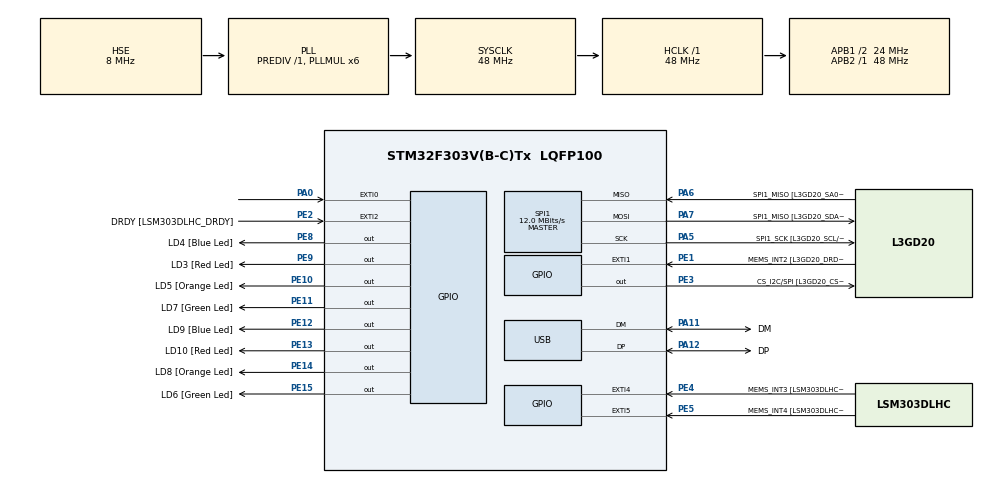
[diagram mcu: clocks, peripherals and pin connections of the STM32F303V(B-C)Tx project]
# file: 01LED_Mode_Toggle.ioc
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Mcu.Family=STM32F3
Mcu.Name=STM32F303V(B-C)Tx
Mcu.Package=LQFP100
NVIC.EXTI0_IRQn=true\:0\:0\:false\:false\:true\:true\:true\:true
NVIC.PriorityGroup=NVIC_PRIORITYGROUP_0
PA0.Signal=GPXTI0
PA10.Signal=I2C2_SDA
PA11.GPIO_Label=DM
PA11.Mode=Device
PA11.Signal=USB_DM
PA12.GPIO_Label=DP
PA12.Mode=Device
PA12.Signal=USB_DP
PA13.GPIO_Label=SWDIO
PA13.Mode=Serial_Wire
PA13.Signal=SYS_JTMS-SWDIO
PA14.GPIO_Label=SWCLK
PA14.Mode=Serial_Wire
PA14.Signal=SYS_JTCK-SWCLK
PA5.GPIO_Label=SPI1_SCK [L3GD20_SCL/SPC]
PA5.Mode=Full_Duplex_Master
PA5.Signal=SPI1_SCK
PA6.GPIO_Label=SPI1_MISO [L3GD20_SA0/SDO]
PA6.Mode=Full_Duplex_Master
PA6.Signal=SPI1_MISO
PA7.GPIO_Label=SPI1_MISO [L3GD20_SDA/SDI/SDO]
PA7.Mode=Full_Duplex_Master
PA7.Signal=SPI1_MOSI
PA9.Signal=I2C2_SCL
PB3.GPIO_Label=SWO
PB3.Signal=SYS_JTDO-TRACESWO
PC14-OSC32_IN.GPIO_Label=OSC32_IN
PC14-OSC32_IN.Signal=RCC_OSC32_IN
PC15-OSC32_OUT.GPIO_Label=OSC32_OUT
PC15-OSC32_OUT.Signal=RCC_OSC32_OUT
PE1.GPIO_Label=MEMS_INT2 [L3GD20_DRDY/INT2]
PE1.GPIO_ModeDefaultEXTI=GPIO_MODE_EVT_RISING
PE1.Signal=GPXTI1
PE10.GPIO_Label=LD5 [Orange Led]
PE10.Signal=GPIO_Output
PE11.GPIO_Label=LD7 [Green Led]
PE11.Signal=GPIO_Output
PE12.GPIO_Label=LD9 [Blue Led]
PE12.Signal=GPIO_Output
PE13.GPIO_Label=LD10 [Red Led]
PE13.Signal=GPIO_Output
PE14.GPIO_Label=LD8 [Orange Led]
PE14.Signal=GPIO_Output
PE15.GPIO_Label=LD6 [Green Led]
PE15.Signal=GPIO_Output
PE2.GPIO_Label=DRDY [LSM303DLHC_DRDY]
PE2.GPIO_ModeDefaultEXTI=GPIO_MODE_EVT_RISING
PE2.Signal=GPXTI2
PE3.GPIO_Label=CS_I2C/SPI [L3GD20_CS_I2C/SPI]
PE3.Signal=GPIO_Output
PE4.GPIO_Label=MEMS_INT3 [LSM303DLHC_INT1]
PE4.GPIO_ModeDefaultEXTI=GPIO_MODE_EVT_RISING
PE4.Signal=GPXTI4
PE5.GPIO_Label=MEMS_INT4 [LSM303DLHC_INT2]
PE5.GPIO_ModeDefaultEXTI=GPIO_MODE_EVT_RISING
PE5.Signal=GPXTI5
PE8.GPIO_Label=LD4 [Blue Led]
PE8.Signal=GPIO_Output
PE9.GPIO_Label=LD3 [Red Led]
PE9.Signal=GPIO_Output
PF0-OSC_IN.GPIO_Label=OSC_IN
PF0-OSC_IN.Mode=HSE-External-Clock-Source
PF0-OSC_IN.Signal=RCC_OSC_IN
PF1-OSC_OUT.GPIO_Label=OSC_OUT
PF1-OSC_OUT.Signal=RCC_OSC_OUT
ProjectManager.HeapSize=0x200
ProjectManager.StackSize=0x400
ProjectManager.TargetToolchain=STM32CubeIDE
RCC.AHBFreq_Value=48000000
RCC.APB1CLKDivider=RCC_HCLK_DIV2
RCC.APB1Freq_Value=24000000
RCC.APB1TimFreq_Value=48000000
RCC.APB2Freq_Value=48000000
RCC.APB2TimFreq_Value=48000000
RCC.CortexFreq_Value=48000000
RCC.HCLKFreq_Value=48000000
RCC.HSE_VALUE=8000000
RCC.HSI_VALUE=8000000
RCC.LSE_VALUE=32768
RCC.PLLMUL=RCC_PLL_MUL6
RCC.SYSCLKFreq_VALUE=48000000
RCC.SYSCLKSourceVirtual=RCC_SYSCLKSOURCE_PLLCLK
RCC.USBFreq_Value=48000000
SPI1.BaudRatePrescaler=SPI_BAUDRATEPRESCALER_4
SPI1.BaudRatePrescaler-Full_Duplex_Master=SPI_BAUDRATEPRESCALER_2
SPI1.CalculateBaudRate=12.0 MBits/s
SPI1.CalculateBaudRate-Full_Duplex_Master=24.0 MBits/s
SPI1.Direction=SPI_DIRECTION_2LINES
SPI1.Mode=SPI_MODE_MASTER
SPI1.Mode-Full_Duplex_Master=SPI_MODE_MASTER
SPI1.VirtualType=VM_MASTER
board=STM32F3DISCOVERY

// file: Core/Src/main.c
/* USER CODE BEGIN Header */
/**
  ******************************************************************************
  * @file           : main.c
  * @brief          : Main program body
  ******************************************************************************
  * @attention
  *
  * Copyright (c) 2025 STMicroelectronics.
  * All rights reserved.
  *
  * This software is licensed under terms that can be found in the LICENSE file
  * in the root directory of this software component.
  * If no LICENSE file comes with this software, it is provided AS-IS.
  *
  ******************************************************************************
  */
/* USER CODE END Header */
#include "main.h"

SPI_HandleTypeDef hspi1;

PCD_HandleTypeDef hpcd_USB_FS;

void SystemClock_Config(void);
static void MX_GPIO_Init(void);
static void MX_SPI1_Init(void);
static void MX_USB_PCD_Init(void);
/* USER CODE BEGIN PFP */
static uint8_t read_btn_press();
static void LED_toggle(uint8_t LED);
static void LED_on(uint8_t LED);
//static void LED_off(uint8_t LED);
static void LED_off_no_delay(uint8_t LED);
static void LEDs_reset(void);
static void start_dance_routin(uint8_t danceId);
/* USER CODE END PFP */

/* USER CODE BEGIN 0 */
uint8_t gDanceId = 0;
/* USER CODE END 0 */

int main(void)
{

  /* MCU Configuration--------------------------------------------------------*/

  /* Reset of all peripherals, Initializes the Flash interface and the Systick. */
  HAL_Init();

  /* Configure the system clock */
  SystemClock_Config();

  /* Initialize all configured peripherals */
  MX_GPIO_Init();
  MX_SPI1_Init();
  MX_USB_PCD_Init();

  /* Infinite loop */
  /* USER CODE BEGIN WHILE */

  while (1)
  {
	  start_dance_routin(gDanceId);

    /* USER CODE END WHILE */

  }
}

void SystemClock_Config(void)
{
  RCC_OscInitTypeDef RCC_OscInitStruct = {0};
  RCC_ClkInitTypeDef RCC_ClkInitStruct = {0};
  RCC_PeriphCLKInitTypeDef PeriphClkInit = {0};

  /** Initializes the RCC Oscillators according to the specified parameters
  * in the RCC_OscInitTypeDef structure.
  */
  RCC_OscInitStruct.OscillatorType = RCC_OSCILLATORTYPE_HSE;
  RCC_OscInitStruct.HSEState = RCC_HSE_BYPASS;
  RCC_OscInitStruct.HSEPredivValue = RCC_HSE_PREDIV_DIV1;
  RCC_OscInitStruct.HSIState = RCC_HSI_ON;
  RCC_OscInitStruct.PLL.PLLState = RCC_PLL_ON;
  RCC_OscInitStruct.PLL.PLLSource = RCC_PLLSOURCE_HSE;
  RCC_OscInitStruct.PLL.PLLMUL = RCC_PLL_MUL6;
  if (HAL_RCC_OscConfig(&RCC_OscInitStruct) != HAL_OK)
  {
    Error_Handler();
  }

  /** Initializes the CPU, AHB and APB buses clocks
  */
  RCC_ClkInitStruct.ClockType = RCC_CLOCKTYPE_HCLK|RCC_CLOCKTYPE_SYSCLK
                              |RCC_CLOCKTYPE_PCLK1|RCC_CLOCKTYPE_PCLK2;
  RCC_ClkInitStruct.SYSCLKSource = RCC_SYSCLKSOURCE_PLLCLK;
  RCC_ClkInitStruct.AHBCLKDivider = RCC_SYSCLK_DIV1;
  RCC_ClkInitStruct.APB1CLKDivider = RCC_HCLK_DIV2;
  RCC_ClkInitStruct.APB2CLKDivider = RCC_HCLK_DIV1;

  if (HAL_RCC_ClockConfig(&RCC_ClkInitStruct, FLASH_LATENCY_1) != HAL_OK)
  {
    Error_Handler();
  }
  PeriphClkInit.PeriphClockSelection = RCC_PERIPHCLK_USB;
  PeriphClkInit.USBClockSelection = RCC_USBCLKSOURCE_PLL;
  if (HAL_RCCEx_PeriphCLKConfig(&PeriphClkInit) != HAL_OK)
  {
    Error_Handler();
  }
}

static void MX_SPI1_Init(void)
{

  /* SPI1 parameter configuration*/
  hspi1.Instance = SPI1;
  hspi1.Init.Mode = SPI_MODE_MASTER;
  hspi1.Init.Direction = SPI_DIRECTION_2LINES;
  hspi1.Init.DataSize = SPI_DATASIZE_4BIT;
  hspi1.Init.CLKPolarity = SPI_POLARITY_LOW;
  hspi1.Init.CLKPhase = SPI_PHASE_1EDGE;
  hspi1.Init.NSS = SPI_NSS_SOFT;
  hspi1.Init.BaudRatePrescaler = SPI_BAUDRATEPRESCALER_4;
  hspi1.Init.FirstBit = SPI_FIRSTBIT_MSB;
  hspi1.Init.TIMode = SPI_TIMODE_DISABLE;
  hspi1.Init.CRCCalculation = SPI_CRCCALCULATION_DISABLE;
  hspi1.Init.CRCPolynomial = 7;
  hspi1.Init.CRCLength = SPI_CRC_LENGTH_DATASIZE;
  hspi1.Init.NSSPMode = SPI_NSS_PULSE_ENABLE;
  if (HAL_SPI_Init(&hspi1) != HAL_OK)
  {
    Error_Handler();
  }

}

static void MX_USB_PCD_Init(void)
{

  hpcd_USB_FS.Instance = USB;
  hpcd_USB_FS.Init.dev_endpoints = 8;
  hpcd_USB_FS.Init.speed = PCD_SPEED_FULL;
  hpcd_USB_FS.Init.phy_itface = PCD_PHY_EMBEDDED;
  hpcd_USB_FS.Init.low_power_enable = DISABLE;
  hpcd_USB_FS.Init.battery_charging_enable = DISABLE;
  if (HAL_PCD_Init(&hpcd_USB_FS) != HAL_OK)
  {
    Error_Handler();
  }

}

static void MX_GPIO_Init(void)
{
  GPIO_InitTypeDef GPIO_InitStruct = {0};

  /* GPIO Ports Clock Enable */
  __HAL_RCC_GPIOE_CLK_ENABLE();
  __HAL_RCC_GPIOC_CLK_ENABLE();
  __HAL_RCC_GPIOF_CLK_ENABLE();
  __HAL_RCC_GPIOA_CLK_ENABLE();
  __HAL_RCC_GPIOB_CLK_ENABLE();

  /*Configure GPIO pin Output Level */
  HAL_GPIO_WritePin(GPIOE, CS_I2C_SPI_Pin|LD4_Pin|LD3_Pin|LD5_Pin
                          |LD7_Pin|LD9_Pin|LD10_Pin|LD8_Pin
                          |LD6_Pin, GPIO_PIN_RESET);

  /*Configure GPIO pins : DRDY_Pin MEMS_INT3_Pin MEMS_INT4_Pin MEMS_INT2_Pin */
  GPIO_InitStruct.Pin = DRDY_Pin|MEMS_INT3_Pin|MEMS_INT4_Pin|MEMS_INT2_Pin;
  GPIO_InitStruct.Mode = GPIO_MODE_EVT_RISING;
  GPIO_InitStruct.Pull = GPIO_NOPULL;
  HAL_GPIO_Init(GPIOE, &GPIO_InitStruct);

  /*Configure GPIO pins : CS_I2C_SPI_Pin LD4_Pin LD3_Pin LD5_Pin
                           LD7_Pin LD9_Pin LD10_Pin LD8_Pin
                           LD6_Pin */
  GPIO_InitStruct.Pin = CS_I2C_SPI_Pin|LD4_Pin|LD3_Pin|LD5_Pin
                          |LD7_Pin|LD9_Pin|LD10_Pin|LD8_Pin
                          |LD6_Pin;
  GPIO_InitStruct.Mode = GPIO_MODE_OUTPUT_PP;
  GPIO_InitStruct.Pull = GPIO_NOPULL;
  GPIO_InitStruct.Speed = GPIO_SPEED_FREQ_LOW;
  HAL_GPIO_Init(GPIOE, &GPIO_InitStruct);

  /*Configure GPIO pin : PA0 */
  GPIO_InitStruct.Pin = GPIO_PIN_0;
  GPIO_InitStruct.Mode = GPIO_MODE_IT_RISING;
  GPIO_InitStruct.Pull = GPIO_NOPULL;
  HAL_GPIO_Init(GPIOA, &GPIO_InitStruct);

  /*Configure GPIO pins : PA9 PA10 */
  GPIO_InitStruct.Pin = GPIO_PIN_9|GPIO_PIN_10;
  GPIO_InitStruct.Mode = GPIO_MODE_AF_OD;
  GPIO_InitStruct.Pull = GPIO_NOPULL;
  GPIO_InitStruct.Speed = GPIO_SPEED_FREQ_HIGH;
  GPIO_InitStruct.Alternate = GPIO_AF4_I2C2;
  HAL_GPIO_Init(GPIOA, &GPIO_InitStruct);

  /* EXTI interrupt init*/
  HAL_NVIC_SetPriority(EXTI0_IRQn, 0, 0);
  HAL_NVIC_EnableIRQ(EXTI0_IRQn);

}

/* USER CODE BEGIN 4 */

void HAL_GPIO_EXTI_Callback(uint16_t GPIO_Pin)
{
  /* Prevent unused argument(s) compilation warning */
  UNUSED(GPIO_Pin);

  __NVIC_DisableIRQ(EXTI0_IRQn);

  gDanceId++;
  if (gDanceId > 3) gDanceId = 0;

  __NVIC_EnableIRQ(EXTI0_IRQn);

  return;
}

static uint8_t read_btn_press()
{

		uint8_t temp = HAL_GPIO_ReadPin(GPIOA, GPIO_PIN_0);

		HAL_Delay(85);

		// check if btn is not being held, if it is don't read the press
		if (temp != HAL_GPIO_ReadPin(GPIOA, GPIO_PIN_0))
		{
			return 1;
		}
		return 0;
}

static void LED_toggle(uint8_t LED)
{
	switch (LED) {
		case 8:
			HAL_GPIO_TogglePin(GPIOE, GPIO_PIN_8);
			break;
		case 9:
			HAL_GPIO_TogglePin(GPIOE, GPIO_PIN_9);
			break;
		case 10:
			HAL_GPIO_TogglePin(GPIOE, GPIO_PIN_10);
			break;
		case 11:
			HAL_GPIO_TogglePin(GPIOE, GPIO_PIN_11);
			break;
		case 12:
			HAL_GPIO_TogglePin(GPIOE, GPIO_PIN_12);
			break;
		case 13:
			HAL_GPIO_TogglePin(GPIOE, GPIO_PIN_13);
			break;
		case 14:
			HAL_GPIO_TogglePin(GPIOE, GPIO_PIN_14);
			break;
		case 15:
			HAL_GPIO_TogglePin(GPIOE, GPIO_PIN_15);
			break;
		default:
			break;
	}
	HAL_Delay(30);
	return;
}

static void LED_on(uint8_t LED)
{
	switch (LED) {
		case 8:
			HAL_GPIO_WritePin(GPIOE, GPIO_PIN_8, GPIO_PIN_SET);
			break;
		case 9:
			HAL_GPIO_WritePin(GPIOE, GPIO_PIN_9, GPIO_PIN_SET);
			break;
		case 10:
			HAL_GPIO_WritePin(GPIOE, GPIO_PIN_10, GPIO_PIN_SET);
			break;
		case 11:
			HAL_GPIO_WritePin(GPIOE, GPIO_PIN_11, GPIO_PIN_SET);
			break;
		case 12:
			HAL_GPIO_WritePin(GPIOE, GPIO_PIN_12, GPIO_PIN_SET);
			break;
		case 13:
			HAL_GPIO_WritePin(GPIOE, GPIO_PIN_13, GPIO_PIN_SET);
			break;
		case 14:
			HAL_GPIO_WritePin(GPIOE, GPIO_PIN_14, GPIO_PIN_SET);
			break;
		case 15:
			HAL_GPIO_WritePin(GPIOE, GPIO_PIN_15, GPIO_PIN_SET);
			break;
		default:
			break;
	}

	return;
}

//static void LED_off(uint8_t LED)
//{
//	switch (LED) {
//		case 8:
//			HAL_GPIO_WritePin(GPIOE, GPIO_PIN_8, GPIO_PIN_RESET);
//			break;
//		case 9:
//			HAL_GPIO_WritePin(GPIOE, GPIO_PIN_9, GPIO_PIN_RESET);
//			break;
//		case 10:
//			HAL_GPIO_WritePin(GPIOE, GPIO_PIN_10, GPIO_PIN_RESET);
//			break;
//		case 11:
//			HAL_GPIO_WritePin(GPIOE, GPIO_PIN_11, GPIO_PIN_RESET);
//			break;
//		case 12:
//			HAL_GPIO_WritePin(GPIOE, GPIO_PIN_12, GPIO_PIN_RESET);
//			break;
//		case 13:
//			HAL_GPIO_WritePin(GPIOE, GPIO_PIN_13, GPIO_PIN_RESET);
//			break;
//		case 14:
//			HAL_GPIO_WritePin(GPIOE, GPIO_PIN_14, GPIO_PIN_RESET);
//			break;
//		case 15:
//			HAL_GPIO_WritePin(GPIOE, GPIO_PIN_15, GPIO_PIN_RESET);
//			break;
//		default:
//			break;
//	}
//	HAL_Delay(30);
//	return;
//}

static void LED_off_no_delay(uint8_t LED)
{
	switch (LED) {
		case 8:
			HAL_GPIO_WritePin(GPIOE, GPIO_PIN_8, GPIO_PIN_RESET);
			break;
		case 9:
			HAL_GPIO_WritePin(GPIOE, GPIO_PIN_9, GPIO_PIN_RESET);
			break;
		case 10:
			HAL_GPIO_WritePin(GPIOE, GPIO_PIN_10, GPIO_PIN_RESET);
			break;
		case 11:
			HAL_GPIO_WritePin(GPIOE, GPIO_PIN_11, GPIO_PIN_RESET);
			break;
		case 12:
			HAL_GPIO_WritePin(GPIOE, GPIO_PIN_12, GPIO_PIN_RESET);
			break;
		case 13:
			HAL_GPIO_WritePin(GPIOE, GPIO_PIN_13, GPIO_PIN_RESET);
			break;
		case 14:
			HAL_GPIO_WritePin(GPIOE, GPIO_PIN_14, GPIO_PIN_RESET);
			break;
		case 15:
			HAL_GPIO_WritePin(GPIOE, GPIO_PIN_15, GPIO_PIN_RESET);
			break;
		default:
			break;
	}

}

static void LEDs_reset(void)
{
	for (uint8_t i = 8; i < 16; i++)
	{
		LED_off_no_delay(i);
	}
}

static void start_dance_routin(uint8_t danceId)
{
	LEDs_reset();
	switch (danceId) {
		case 0:
			break;

		case 1:
			LED_toggle(10);
			HAL_Delay(30);
			LED_toggle(11);
			HAL_Delay(30);
			LED_toggle(12);
			HAL_Delay(30);
			LED_toggle(13);
			HAL_Delay(30);
			LED_toggle(14);
			HAL_Delay(30);
			LED_toggle(15);
			HAL_Delay(30);
			LED_toggle(8);
			HAL_Delay(30);
			LED_toggle(9);
			HAL_Delay(30);
			LED_toggle(10);
			HAL_Delay(30);
			LED_toggle(11);
			HAL_Delay(30);
			LED_toggle(12);
			HAL_Delay(30);
			LED_toggle(13);
			HAL_Delay(30);
			LED_toggle(14);
			HAL_Delay(30);
			LED_toggle(15);
			HAL_Delay(30);
			LED_toggle(8);
			HAL_Delay(30);
			LED_toggle(9);
			LED_toggle(10);
			break;

		case 2:
			LED_on(9);
			LED_on(13);
			HAL_Delay(100);
			LED_off_no_delay(9);
			LED_off_no_delay(13);

			LED_on(10);
			LED_on(14);
			HAL_Delay(100);
			LED_off_no_delay(10);
			LED_off_no_delay(14);

			LED_on(11);
			LED_on(15);
			HAL_Delay(100);
			LED_off_no_delay(11);
			LED_off_no_delay(15);

			LED_on(12);
			LED_on(8);
			HAL_Delay(100);
			LED_off_no_delay(12);
			LED_off_no_delay(8);
			//
			LED_on(13);
			LED_on(9);
			HAL_Delay(100);
			LED_off_no_delay(13);
			LED_off_no_delay(9);

			LED_on(14);
			LED_on(10);
			HAL_Delay(100);
			LED_off_no_delay(14);
			LED_off_no_delay(10);

			LED_on(15);
			LED_on(11);
			HAL_Delay(100);
			LED_off_no_delay(15);
			LED_off_no_delay(11);

			LED_on(8);
			LED_on(12);
			HAL_Delay(100);
			LED_off_no_delay(8);
			LED_off_no_delay(12);

			break;
		case 3:
			LED_on(9);
			HAL_Delay(75);
			LED_off_no_delay(9);

			LED_on(10);
			HAL_Delay(75);
			LED_off_no_delay(10);

			LED_on(11);
			HAL_Delay(75);
			LED_off_no_delay(11);

			LED_on(12);
			HAL_Delay(75);
			LED_off_no_delay(12);

			LED_on(13);
			HAL_Delay(75);
			LED_off_no_delay(13);

			LED_on(14);
			HAL_Delay(75);
			LED_off_no_delay(14);

			LED_on(15);
			HAL_Delay(75);
			LED_off_no_delay(15);

			LED_on(8);
			HAL_Delay(75);
			LED_off_no_delay(8);
			break;
		case 4:

			break;

		default:
			break;
	}
}

/* USER CODE END 4 */

void Error_Handler(void)
{
  __disable_irq();
  while (1)
  {
  }
}
